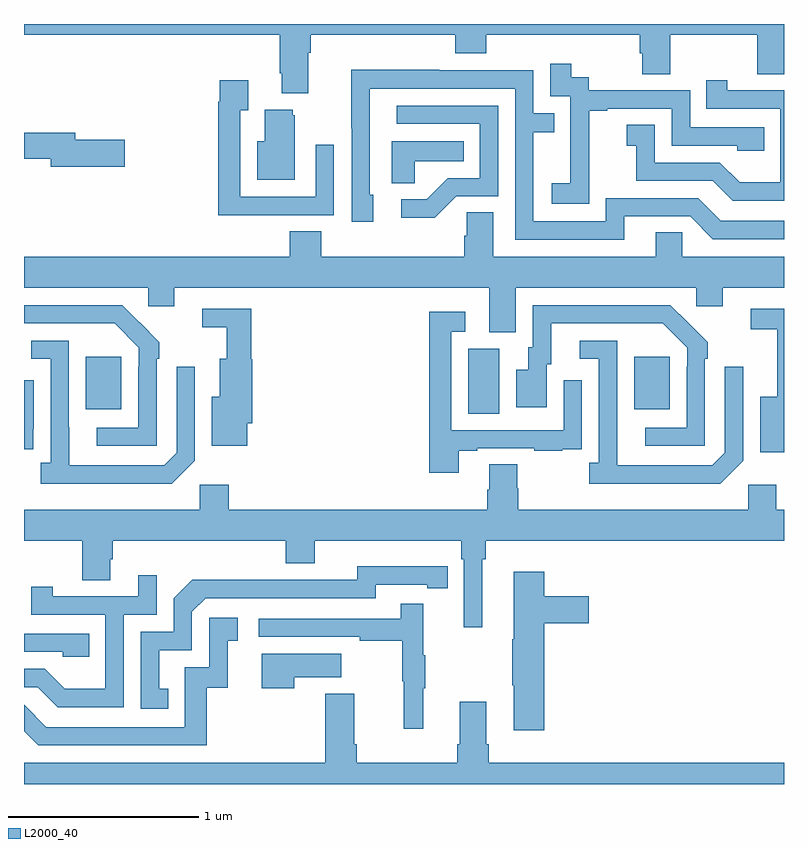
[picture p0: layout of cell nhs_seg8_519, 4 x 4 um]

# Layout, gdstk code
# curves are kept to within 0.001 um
import gdstk
lib = gdstk.Library(unit=1e-6, precision=1e-09)
def R(c, l, rs):  # rectangles x0, y0, x1, y1
    for r in rs: c.add(gdstk.rectangle(r[:2], r[2:], *l))
def P(c, l, *ps):  # polygons
    for p in ps: c.add(gdstk.Polygon(p, *l))
L2000_40 = (2000, 40)

nhs_seg8_519 = lib.new_cell('nhs_seg8_519')
R(nhs_seg8_519, L2000_40, [(147.338,1103.848,147.502,1104.192), (145.325,1103.873,145.513,1104.148), (148.211,1103.873,148.399,1104.148)])
P(nhs_seg8_519, L2000_40, [(146.497,1105.748),(146.51,1105.748),(146.51,1105.844),(147.269,1105.844),(147.269,1105.745),(147.434,1105.745),(147.434,1105.844),(148.241,1105.844),(148.241,1105.746),(148.253,1105.746),(148.253,1105.636),(148.401,1105.636),(148.401,1105.844),(148.858,1105.844),(148.858,1105.636),(149,1105.636),(149,1105.9),(145,1105.9),(145,1105.844),(146.345,1105.844),(146.345,1105.642),(146.357,1105.642),(146.357,1105.535),(146.497,1105.535)],
  [(147.975,1105.159),(147.974,1105.159),(147.974,1105.443),(148.069,1105.443),(148.069,1105.455),(148.41,1105.455),(148.41,1105.26),(148.755,1105.26),(148.755,1105.233),(148.895,1105.233),(148.895,1105.356),(148.506,1105.356),(148.506,1105.551),(147.972,1105.551),(147.972,1105.62),(147.88,1105.62),(147.88,1105.69),(147.771,1105.69),(147.771,1105.521),(147.876,1105.521),(147.876,1105.292),(147.875,1105.292),(147.875,1105.063),(147.777,1105.063),(147.777,1104.953),(147.975,1104.953)],
  [(148.159,1104.888),(148.506,1104.888),(148.626,1104.768),(149,1104.768),(149,1104.864),(148.668,1104.864),(148.548,1104.984),(148.062,1104.984),(148.062,1104.861),(147.681,1104.861),(147.681,1105.33),(147.791,1105.33),(147.791,1105.431),(147.681,1105.431),(147.681,1105.656),(147.185,1105.656),(147.185,1105.658),(146.722,1105.658),(146.722,1105.351),(146.724,1105.351),(146.724,1104.858),(146.839,1104.858),(146.839,1105.002),(146.82,1105.002),(146.82,1105.56),(147.585,1105.56),(147.585,1104.765),(148.159,1104.765)],
  [(149,1105.551),(148.702,1105.551),(148.702,1105.603),(148.591,1105.603),(148.591,1105.455),(148.98,1105.455),(148.98,1105.066),(148.766,1105.066),(148.662,1105.17),(148.32,1105.17),(148.32,1105.369),(148.173,1105.369),(148.173,1105.259),(148.222,1105.259),(148.222,1105.074),(148.625,1105.074),(148.73,1104.969),(149,1104.969)],
  [(146.315,1104.894),(146.631,1104.894),(146.631,1105.264),(146.535,1105.264),(146.535,1104.99),(146.139,1104.99),(146.139,1105.447),(146.179,1105.447),(146.179,1105.603),(146.031,1105.603),(146.031,1105.49),(146.023,1105.49),(146.023,1104.893),(146.315,1104.893)],
  [(147.276,1104.993),(147.495,1104.993),(147.495,1105.47),(146.961,1105.47),(146.961,1105.374),(147.399,1105.374),(147.399,1105.089),(147.23,1105.089),(147.119,1104.978),(146.985,1104.978),(146.985,1104.881),(147.163,1104.881)],
  [(146.425,1105.419),(146.414,1105.419),(146.414,1105.45),(146.267,1105.45),(146.267,1105.282),(146.228,1105.282),(146.228,1105.079),(146.425,1105.079)],
  [(145.531,1105.292),(145.27,1105.292),(145.27,1105.328),(145,1105.328),(145,1105.192),(145.142,1105.192),(145.142,1105.15),(145.531,1105.15)],
  [(147.057,1105.178),(147.314,1105.178),(147.314,1105.282),(146.936,1105.282),(146.936,1105.063),(147.057,1105.063)],
  [(147.589,1104.512),(148.539,1104.512),(148.539,1104.414),(148.678,1104.414),(148.678,1104.512),(149,1104.512),(149,1104.676),(148.464,1104.676),(148.464,1104.803),(148.325,1104.803),(148.325,1104.676),(147.469,1104.676),(147.469,1104.908),(147.33,1104.908),(147.33,1104.785),(147.317,1104.785),(147.317,1104.676),(146.564,1104.676),(146.564,1104.809),(146.399,1104.809),(146.399,1104.676),(145,1104.676),(145,1104.512),(145.653,1104.512),(145.653,1104.414),(145.792,1104.414),(145.792,1104.512),(147.449,1104.512),(147.449,1104.277),(147.589,1104.277)],
  [(148.584,1104.137),(148.599,1104.137),(148.599,1104.225),(148.402,1104.42),(147.678,1104.42),(147.678,1104.198),(147.653,1104.198),(147.653,1104.079),(147.59,1104.079),(147.59,1103.883),(147.751,1103.883),(147.751,1104.108),(147.775,1104.108),(147.775,1104.324),(148.363,1104.324),(148.491,1104.195),(148.491,1104.095),(148.488,1104.095),(148.488,1103.775),(148.269,1103.775),(148.269,1103.679),(148.584,1103.679)],
  [(145.698,1104.137),(145.713,1104.137),(145.713,1104.225),(145.516,1104.42),(145,1104.42),(145,1104.324),(145.477,1104.324),(145.605,1104.195),(145.605,1104.095),(145.602,1104.095),(145.602,1103.775),(145.383,1103.775),(145.383,1103.679),(145.698,1103.679)],
  [(149,1104.402),(148.824,1104.402),(148.824,1104.294),(148.964,1104.294),(148.964,1103.938),(148.874,1103.938),(148.874,1103.645),(149,1103.645)],
  [(146.176,1103.799),(146.201,1103.799),(146.201,1104.135),(146.195,1104.135),(146.195,1104.402),(145.938,1104.402),(145.938,1104.305),(146.067,1104.305),(146.067,1104.139),(146.03,1104.139),(146.03,1103.938),(145.988,1103.938),(145.988,1103.681),(146.176,1103.681)],
  [(147.289,1103.655),(147.385,1103.655),(147.385,1103.667),(147.685,1103.667),(147.685,1103.655),(147.833,1103.655),(147.833,1103.661),(147.935,1103.661),(147.935,1103.77),(147.936,1103.77),(147.936,1104.025),(147.84,1104.025),(147.84,1103.763),(147.249,1103.763),(147.249,1104.279),(147.322,1104.279),(147.322,1104.385),(147.133,1104.385),(147.133,1103.538),(147.289,1103.538)],
  [(148.785,1103.601),(148.785,1104.097),(148.689,1104.097),(148.689,1103.643),(148.623,1103.577),(148.123,1103.577),(148.122,1104.234),(147.924,1104.234),(147.924,1104.138),(148.026,1104.138),(148.026,1103.59),(147.975,1103.59),(147.975,1103.48),(148.664,1103.48)],
  [(145.899,1103.601),(145.899,1104.097),(145.803,1104.097),(145.803,1103.643),(145.737,1103.577),(145.237,1103.577),(145.236,1104.234),(145.038,1104.234),(145.038,1104.138),(145.14,1104.138),(145.14,1103.59),(145.089,1103.59),(145.089,1103.48),(145.778,1103.48)],
  [(145.049,1103.77),(145.05,1103.77),(145.05,1104.025),(145,1104.025),(145,1103.661),(145.049,1103.661)],
  [(147.412,1103.084),(147.431,1103.084),(147.431,1103.18),(149,1103.18),(149,1103.344),(148.959,1103.344),(148.959,1103.476),(148.812,1103.476),(148.812,1103.344),(147.602,1103.344),(147.602,1103.457),(147.597,1103.457),(147.597,1103.582),(147.449,1103.582),(147.449,1103.45),(147.437,1103.45),(147.437,1103.344),(146.078,1103.344),(146.078,1103.476),(145.926,1103.476),(145.926,1103.344),(145,1103.344),(145,1103.18),(145.306,1103.18),(145.306,1102.972),(145.453,1102.972),(145.453,1103.082),(145.466,1103.082),(145.466,1103.18),(146.378,1103.18),(146.378,1103.063),(146.53,1103.063),(146.53,1103.18),(147.302,1103.18),(147.302,1103.084),(147.315,1103.084),(147.315,1102.725),(147.412,1102.725)],
  [(145.76,1102.401),(145.711,1102.401),(145.711,1102.605),(145.884,1102.605),(145.884,1102.806),(145.956,1102.878),(146.85,1102.878),(146.85,1102.95),(147.122,1102.95),(147.122,1102.93),(147.23,1102.93),(147.23,1103.046),(146.754,1103.047),(146.754,1102.974),(146.294,1102.974),(146.294,1102.976),(145.886,1102.976),(145.788,1102.878),(145.788,1102.701),(145.614,1102.701),(145.614,1102.296),(145.76,1102.296)],
  [(147.737,1102.745),(147.973,1102.745),(147.973,1102.887),(147.737,1102.887),(147.737,1103.017),(147.578,1103.017),(147.578,1102.661),(147.571,1102.661),(147.571,1102.42),(147.578,1102.42),(147.578,1102.182),(147.737,1102.182)],
  [(145.524,1102.791),(145.698,1102.791),(145.698,1102.999),(145.601,1102.999),(145.601,1102.887),(145.15,1102.887),(145.15,1102.939),(145.039,1102.939),(145.039,1102.791),(145.428,1102.791),(145.428,1102.402),(145.214,1102.402),(145.11,1102.506),(145,1102.506),(145,1102.41),(145.073,1102.41),(145.178,1102.305),(145.524,1102.305)],
  [(147.101,1102.403),(147.112,1102.403),(147.112,1102.577),(147.101,1102.577),(147.101,1102.849),(146.983,1102.849),(146.983,1102.77),(146.235,1102.77),(146.235,1102.674),(146.767,1102.674),(146.767,1102.654),(146.991,1102.654),(146.991,1102.44),(146.998,1102.44),(146.998,1102.191),(147.101,1102.191)],
  [(145.961,1102.407),(146.072,1102.407),(146.072,1102.653),(146.125,1102.653),(146.125,1102.774),(145.974,1102.774),(145.974,1102.515),(145.845,1102.515),(145.845,1102.2),(145.116,1102.2),(145,1102.316),(145,1102.178),(145.074,1102.104),(145.961,1102.104)],
  [(145.343,1102.692),(145,1102.692),(145,1102.596),(145.203,1102.596),(145.203,1102.569),(145.343,1102.569)],
  [(146.423,1102.463),(146.671,1102.463),(146.671,1102.585),(146.252,1102.585),(146.252,1102.404),(146.423,1102.404)],
  [(149,1102.012),(147.446,1102.012),(147.446,1102.108),(147.433,1102.108),(147.433,1102.333),(147.293,1102.333),(147.293,1102.108),(147.281,1102.108),(147.281,1102.012),(146.75,1102.012),(146.75,1102.108),(146.737,1102.108),(146.737,1102.375),(146.585,1102.375),(146.585,1102.012),(145,1102.012),(145,1101.9),(149,1101.9)])

lib.write_gds('nhs_seg8_519.gds')
